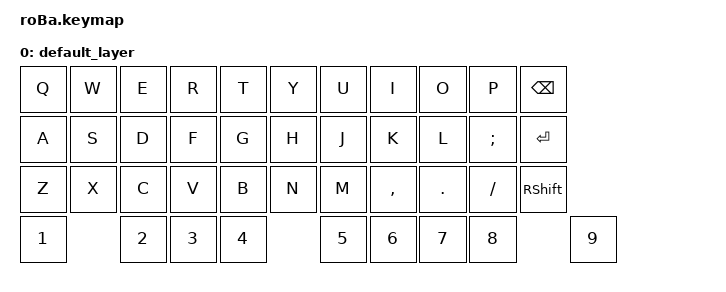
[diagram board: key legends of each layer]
#include <behaviors.dtsi>
#include <dt-bindings/zmk/keys.h>

/ {
    keymap {
        compatible = "zmk,keymap";
        default_layer {
            bindings = <
                &kp Q &kp W &kp E &kp R &kp T &kp Y        &kp U &kp I &kp O &kp P &kp BSPC
                &kp A &kp S &kp D &kp F &kp G &kp H        &kp J &kp K &kp L &kp SEMI &kp RET
                &kp Z &kp X &kp C &kp V &kp B &kp N        &kp M &kp COMMA &kp DOT &kp SLASH &kp RSHFT
                &kp N1      &kp N2 &kp N3 &kp N4           &kp N5 &kp N6 &kp N7 &kp N8 &kp N9
            >;
        };
    };
};
